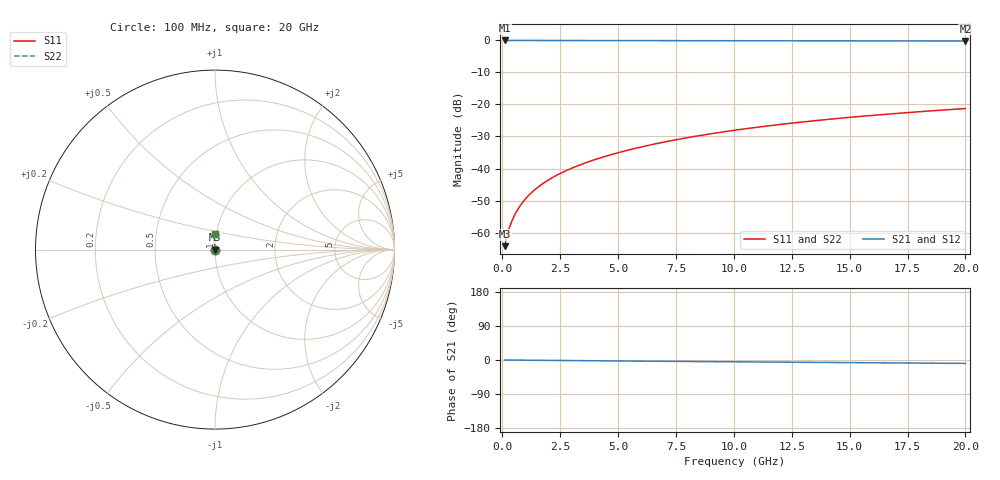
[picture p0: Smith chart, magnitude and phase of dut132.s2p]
! Touchstone file exported from HFSS 2024.1.0
!  File:  C:/UserFiles/LocalFiles/RDL_TSV_Batchsim/temp_RDL_top_132_1778684426.aedt
!  Generated:  11:02:44 PM May 13, 2026
!  Design:  RDL_top
!  Project:  temp_RDL_top_132_1778684426
!  Setup:  Setup1
!  Solution:  Sweep
! Variables:
!  dtsv = 10.80580581um
!  hbump = 3um
!  htsv = 88.72um
!  ldown = 100um
!  lrdl = 114.15um
!  p = 40
!  p1 = 48.78um
!  rhole = 1um
!  t = 450um
!  tdown = 3.915915916um
!  trdl = 4.8um
!  wdown = 15.38538539um
!  wrdl = 28.6um
# GHz S MA R 50.000000
! Terminal data exported
! Port[1] = Box2_T1
! Port[2] = Box2_T2
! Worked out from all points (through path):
!   200 points, 100 MHz to 20 GHz, reference 50 ohm
!   highest |S21| = 0.00 dB at 100 MHz (marker M1); lowest = -0.2 dB at 20 GHz (marker M2)
!   group delay of S21, straight-line fit = 1.22 ps
!   lowest |S11| = -64.3 dB at 100 MHz (marker M3), VSWR 1.00, Z = 50 + j0.0381 ohm
!   |S11| at or under -10 dB: start of sweep to end of sweep
!   |S22| runs from -64.3 to -21.3 dB; largest |S21 - S12| = 3.4e-15
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0.1  0.0006124 38.4  0.9995 -0.1  0.9995 -0.1  0.0006124 38.4
! Gamma 0 0 0 0
! Port Impedance 50 0 50 0
0.2  0.0008897 54.5  0.9995 -0.1  0.9995 -0.1  0.0008897 54.5
0.3  0.00118 62.8  0.9994 -0.2  0.9994 -0.2  0.00118 62.8
0.4  0.001476 68.2  0.9994 -0.2  0.9994 -0.2  0.001476 68.2
0.5  0.001779 72.0  0.9994 -0.3  0.9994 -0.3  0.001779 72.0
0.6  0.002087 74.9  0.9993 -0.3  0.9993 -0.3  0.002087 74.9
0.8  0.002715 78.8  0.9993 -0.4  0.9993 -0.4  0.002715 78.8
1.1  0.003678 82.6  0.9991 -0.6  0.9991 -0.6  0.003678 82.6
1.5  0.004988 85.6  0.9989 -0.8  0.9989 -0.8  0.004988 85.6
1.8  0.005986 87.2  0.9987 -1.0  0.9987 -1.0  0.005986 87.2
2.1  0.006997 88.4  0.9985 -1.1  0.9985 -1.1  0.006997 88.4
2.7  0.009064 90.4  0.9979 -1.4  0.9979 -1.4  0.009064 90.4
3.5  0.01192 92.2  0.9971 -1.8  0.9971 -1.8  0.01192 92.2
4.2  0.01453 93.4  0.9962 -2.2  0.9962 -2.2  0.01453 93.4
5  0.01764 94.3  0.9952 -2.6  0.9952 -2.6  0.01764 94.3
6.8  0.02509 95.3  0.9928 -3.4  0.9928 -3.4  0.02509 95.3
8.4  0.03213 95.3  0.9908 -4.1  0.9908 -4.1  0.03213 95.3
10.1  0.0399 94.7  0.9887 -4.8  0.9887 -4.8  0.0399 94.7
11.7  0.04736 93.8  0.987 -5.5  0.987 -5.5  0.04736 93.8
13.4  0.05536 92.8  0.9853 -6.2  0.9853 -6.2  0.05536 92.8
16.7  0.07092 90.6  0.9823 -7.6  0.9823 -7.6  0.07092 90.6
20  0.08638 88.4  0.9797 -8.9  0.9797 -8.9  0.08638 88.4
